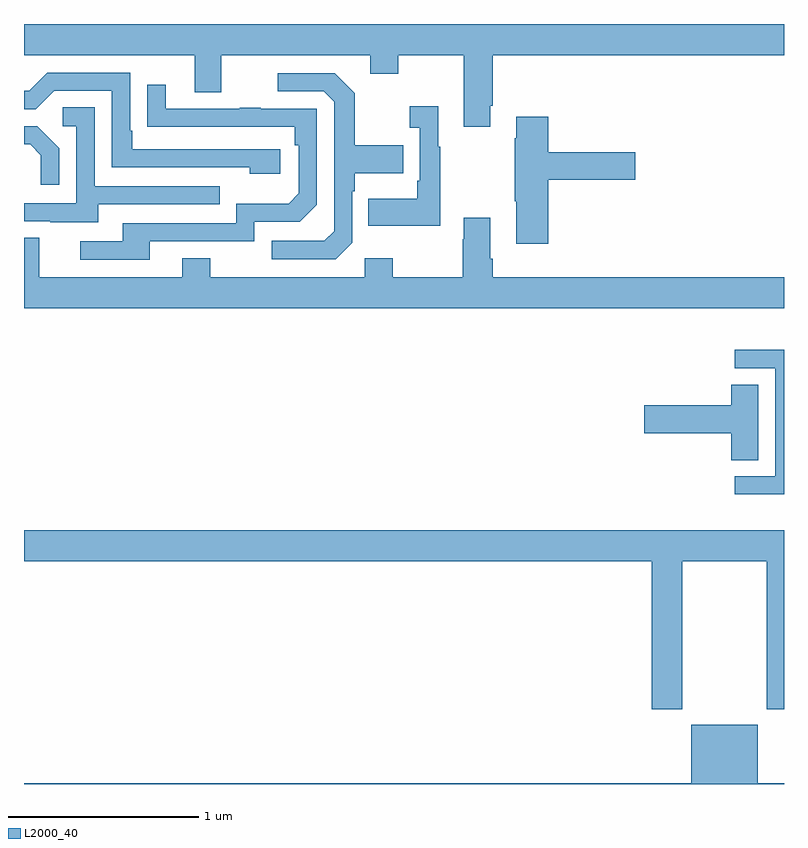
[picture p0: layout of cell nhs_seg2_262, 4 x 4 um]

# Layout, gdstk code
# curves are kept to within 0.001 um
import gdstk
lib = gdstk.Library(unit=1e-6, precision=1e-09)
def P(c, l, *ps):  # polygons
    for p in ps: c.add(gdstk.Polygon(p, *l))
L2000_40 = (2000, 40)

nhs_seg2_262 = lib.new_cell('nhs_seg2_262')
P(nhs_seg2_262, L2000_40, [(125.455,647.371),(125.468,647.371),(125.468,647.636),(127,647.636),(127,647.8),(123,647.8),(123,647.636),(123.899,647.636),(123.899,647.442),(124.039,647.442),(124.039,647.636),(124.823,647.636),(124.823,647.537),(124.971,647.537),(124.971,647.636),(125.315,647.636),(125.315,647.259),(125.455,647.259)],
  [(124.348,647.142),(123.571,647.142),(123.571,647.239),(123.558,647.239),(123.558,647.544),(123.123,647.544),(123.027,647.448),(123,647.448),(123,647.352),(123.063,647.352),(123.159,647.448),(123.462,647.448),(123.462,647.046),(124.187,647.046),(124.187,647.012),(124.348,647.012)],
  [(124.728,646.65),(124.728,646.919),(124.741,646.919),(124.741,647.015),(124.997,647.015),(124.997,647.163),(124.741,647.163),(124.741,647.435),(124.635,647.541),(124.335,647.541),(124.335,647.445),(124.578,647.445),(124.632,647.391),(124.632,646.71),(124.581,646.659),(124.305,646.659),(124.305,646.563),(124.641,646.563)],
  [(123.661,646.656),(124.212,646.656),(124.212,646.758),(124.452,646.758),(124.542,646.848),(124.542,647.355),(124.247,647.355),(124.247,647.36),(124.135,647.36),(124.135,647.355),(123.745,647.355),(123.745,647.479),(123.649,647.479),(123.649,647.26),(124.426,647.259),(124.426,647.162),(124.446,647.162),(124.446,646.908),(124.393,646.855),(124.116,646.855),(124.116,646.752),(123.521,646.752),(123.521,646.656),(123.297,646.656),(123.297,646.56),(123.661,646.56)],
  [(125.191,647.155),(125.179,647.155),(125.179,647.368),(125.031,647.368),(125.031,647.255),(125.082,647.255),(125.082,646.975),(125.07,646.975),(125.07,646.879),(124.813,646.879),(124.813,646.739),(125.191,646.739)],
  [(123.391,646.851),(124.031,646.851),(124.031,646.947),(123.372,646.947),(123.372,647.363),(123.204,647.363),(123.204,647.262),(123.276,647.262),(123.276,646.857),(123,646.857),(123,646.761),(123.137,646.761),(123.137,646.757),(123.391,646.757)],
  [(125.759,646.979),(126.217,646.979),(126.217,647.126),(125.759,647.126),(125.759,647.311),(125.591,647.311),(125.591,647.198),(125.584,647.198),(125.584,646.867),(125.591,646.867),(125.591,646.644),(125.759,646.644)],
  [(123.186,647.146),(123.07,647.262),(123,647.262),(123,647.166),(123.032,647.166),(123.089,647.109),(123.089,646.953),(123.186,646.953)],
  [(127,646.468),(125.468,646.468),(125.468,646.564),(125.455,646.564),(125.455,646.78),(125.315,646.78),(125.315,646.667),(125.308,646.667),(125.308,646.468),(124.941,646.468),(124.941,646.567),(124.794,646.567),(124.794,646.468),(123.981,646.468),(123.981,646.567),(123.833,646.567),(123.833,646.468),(123.079,646.468),(123.079,646.676),(123,646.676),(123,646.304),(127,646.304)],
  [(127,646.086),(126.741,646.086),(126.741,645.987),(126.954,645.987),(126.954,645.42),(126.741,645.42),(126.741,645.324),(127,645.324)],
  [(126.865,645.902),(126.722,645.902),(126.722,645.794),(126.264,645.794),(126.264,645.647),(126.722,645.647),(126.722,645.505),(126.865,645.505)],
  [(126.465,644.972),(126.91,644.972),(126.91,644.193),(127,644.193),(127,645.136),(123,645.136),(123,644.972),(126.305,644.972),(126.305,644.193),(126.465,644.193)],
  [(127,643.804),(126.862,643.804),(126.862,644.113),(126.512,644.113),(126.512,643.804),(123,643.804),(123,643.8),(127,643.8)])

lib.write_gds('nhs_seg2_262.gds')
